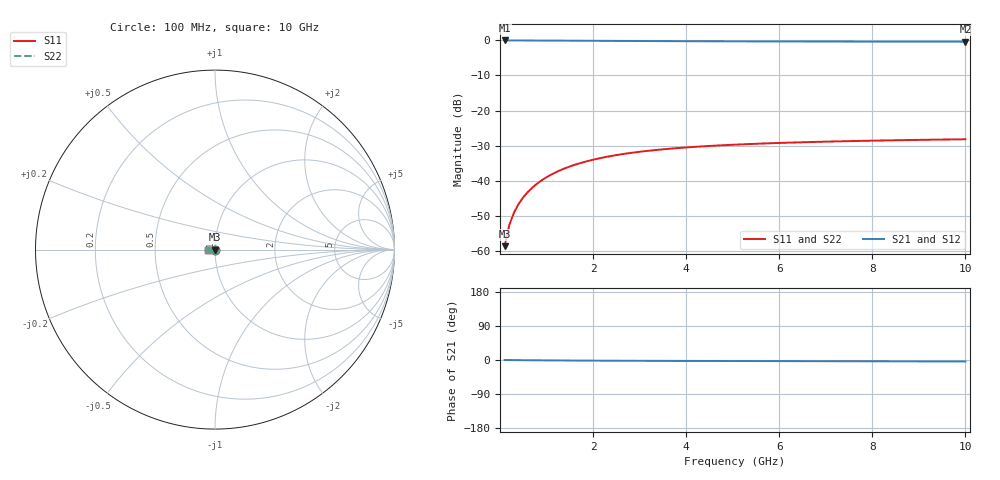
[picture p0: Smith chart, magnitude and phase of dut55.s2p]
! Touchstone file exported from HFSS 2024.1.0
!  File:  C:/UserFiles/LocalFiles/RDL_TSV_Batchsim/temp_TSV1_55_1779372367.aedt
!  Generated:  10:12:08 PM May 21, 2026
!  Design:  TSV1
!  Project:  temp_TSV1_55_1779372367
!  Setup:  Setup1
!  Solution:  Sweep
! Variables:
!  dtsv = 13.59um
!  hbump = 3um
!  htsv = 56.51um
!  lrdl = 252.1521522um
!  p = 40
!  p1 = 54.43um
!  t = 500um
!  trdl = 3um
!  wrdl = 24.89489489um
# GHz S MA R 50.000000
! Terminal data exported
! Port[1] = TSV22_T1
! Port[2] = TSV22_T2
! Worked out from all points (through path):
!   100 points, 100 MHz to 10 GHz, reference 50 ohm
!   highest |S21| = 0.00 dB at 100 MHz (marker M1); lowest = -0.4 dB at 10 GHz (marker M2)
!   lowest |S11| = -58.7 dB at 100 MHz (marker M3), VSWR 1.00, Z = 50 - j0.116 ohm
!   |S11| at or under -10 dB: start of sweep to end of sweep
!   |S22| runs from -58.7 to -28.2 dB; largest |S21 - S12| = 2.3e-15
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0.1  0.001161 -88.4  0.9999 -0.1  0.9999 -0.1  0.001161 -88.4
! Gamma 0 0 0 0
! Port Impedance 50 0 50 0
0.2  0.00232 -91.9  0.9998 -0.2  0.9998 -0.2  0.00232 -91.9
0.3  0.003477 -94.2  0.9996 -0.3  0.9996 -0.3  0.003477 -94.2
0.4  0.004628 -96.4  0.9993 -0.4  0.9993 -0.4  0.004628 -96.4
0.5  0.005767 -98.4  0.9989 -0.5  0.9989 -0.5  0.005767 -98.4
0.6  0.00689 -100.4  0.9985 -0.6  0.9985 -0.6  0.00689 -100.4
0.7  0.007994 -102.3  0.998 -0.7  0.998 -0.7  0.007995 -102.3
0.8  0.009077 -104.2  0.9975 -0.8  0.9975 -0.8  0.009077 -104.2
0.9  0.01014 -106.0  0.9969 -0.9  0.9969 -0.9  0.01014 -106.0
1.1  0.01217 -109.6  0.9957 -1.1  0.9957 -1.1  0.01217 -109.6
1.4  0.01501 -114.6  0.9935 -1.3  0.9935 -1.3  0.01501 -114.6
1.6  0.01675 -117.8  0.992 -1.4  0.992 -1.4  0.01675 -117.8
1.8  0.01837 -120.7  0.9904 -1.6  0.9904 -1.6  0.01837 -120.7
2.1  0.02058 -124.9  0.988 -1.7  0.988 -1.7  0.02058 -124.9
2.5  0.02313 -130.0  0.985 -1.9  0.985 -1.9  0.02313 -130.0
2.9  0.0253 -134.5  0.9821 -2.1  0.9821 -2.1  0.0253 -134.5
3.4  0.02756 -139.5  0.9789 -2.3  0.9789 -2.3  0.02756 -139.5
4.2  0.03037 -146.2  0.9745 -2.5  0.9745 -2.5  0.03037 -146.2
5.1  0.03271 -152.5  0.9707 -2.7  0.9707 -2.7  0.03271 -152.5
6.7  0.03556 -161.2  0.9659 -3.1  0.9659 -3.1  0.03556 -161.2
8.4  0.03756 -168.4  0.9625 -3.5  0.9625 -3.5  0.03757 -168.4
10  0.03893 -174.0  0.9603 -3.9  0.9603 -3.9  0.03893 -174.0
